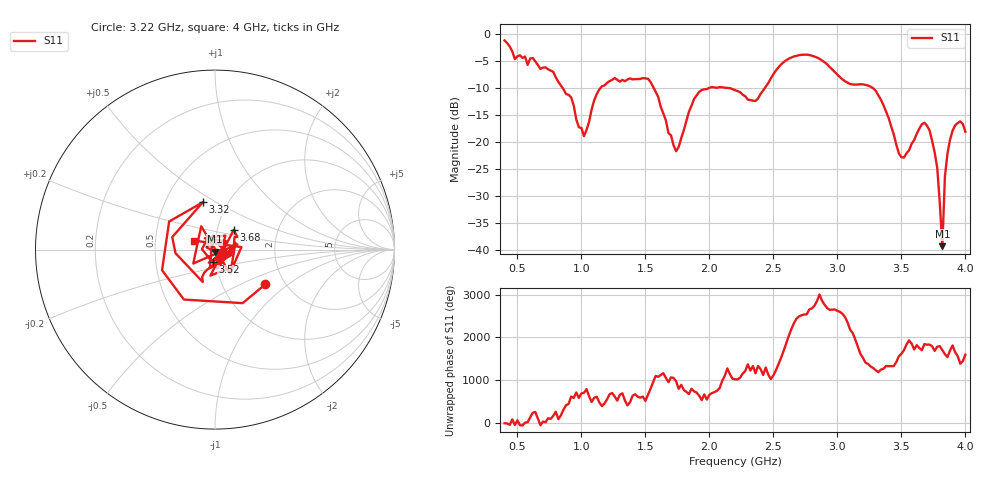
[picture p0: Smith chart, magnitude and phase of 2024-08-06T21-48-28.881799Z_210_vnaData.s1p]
!Created with skrf (http://scikit-rf.org).
# Hz S RI R 50.0
!freq ReS11 ImS11
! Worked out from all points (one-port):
!   181 points, 400 MHz to 4 GHz, reference 50 ohm
!   lowest |S11| = -39.2 dB at 3.82 GHz (marker M1), VSWR 1.02, Z = 49.9 - j1.08 ohm
!   |S11| at or under -10 dB: 855.8 MHz to 1.147 GHz (290.8 MHz wide, 29 % of centre); 1.566 GHz to 1.991 GHz (424.2 MHz wide, 23.9 % of centre); 3.28 GHz to end of sweep (the widest 3 of 4)
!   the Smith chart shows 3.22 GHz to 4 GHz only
!   S11 on the Smith chart (normalised r, x): 3.22 GHz: 1.59, -0.70; 3.32 GHz: 0.76, +0.44; 3.52 GHz: 0.96, -0.14; 3.68 GHz: 1.20, +0.27; 4 GHz: 0.79, +0.08
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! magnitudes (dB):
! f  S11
! 400 MHz  -1.1
! 480 MHz  -4.6
! 620 MHz  -4.4
! 860 MHz  -10.1
! 1.02 GHz  -18.8
! 1.14 GHz  -10.2
! 1.3 GHz  -8.8
! 1.52 GHz  -8.2
! 1.74 GHz  -21.6
! 1.76 GHz  -20.9
! 1.92 GHz  -10.7
! 2.2 GHz  -10.3
! 2.36 GHz  -12.3
! 2.66 GHz  -4.1
! 2.86 GHz  -4.5
! 3.1 GHz  -9.2
! 3.22 GHz  -9.4
! 3.32 GHz  -11.3
! 3.52 GHz  -22.8
! 3.56 GHz  -21.5
! 3.68 GHz  -16.4
! 3.72 GHz  -17.8
! 3.78 GHz  -24.7
! 3.82 GHz  -39.2
! 3.84 GHz  -26.3
! 3.88 GHz  -19.5
! 3.96 GHz  -16.1
! 4 GHz  -18.0
